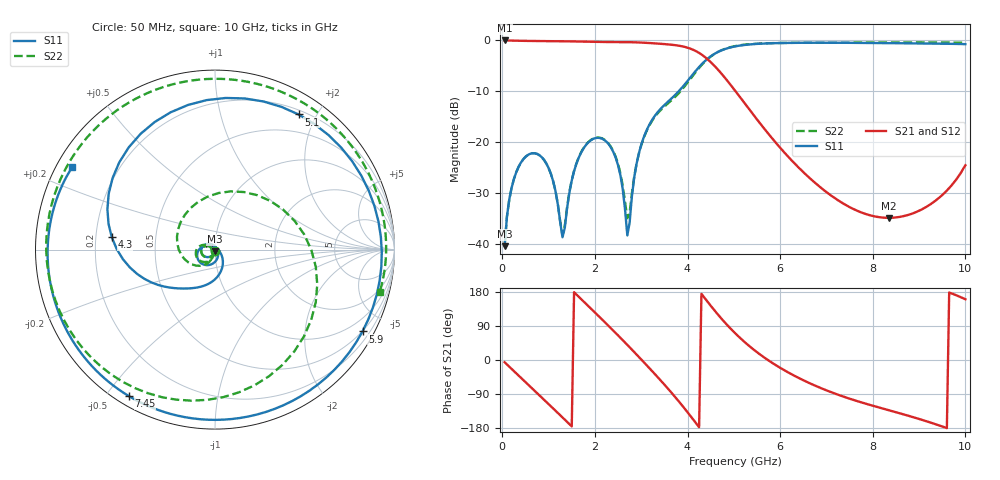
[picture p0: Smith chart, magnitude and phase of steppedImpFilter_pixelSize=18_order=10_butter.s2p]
! freq	dB(S11)	phase(S11)	dB(S12)	phase(S12)
!  dB(S21)	phase(S21)	dB(S22)	phase(S22)
!S-par simulation data
#  GHz  S  DB  R 50
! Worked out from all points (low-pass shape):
!   200 points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, 50 MHz to 10 GHz, reference 50 ohm
!   highest |S21| = -0.01 dB at 50 MHz (marker M1); lowest = -34.9 dB at 8.35 GHz (marker M2)
!   |S21| within 3 dB of the highest: start of sweep to 4.337 GHz
!   lowest |S11| = -40.5 dB at 50 MHz (marker M3), VSWR 1.02, Z = 49.9 - j0.939 ohm
!   |S11| at or under -10 dB: start of sweep to 3.812 GHz
!   |S22| runs from -40.5 to -0.4 dB; largest |S21 - S12| = 0
!   S11 on the Smith chart (normalised r, x): 50 MHz: 1.00, -0.02; 4.3 GHz: 0.27, +0.06; 5.1 GHz: 0.25, +1.77; 5.9 GHz: 0.49, -3.81; 7.45 GHz: 0.04, -0.57; 10 GHz: 0.05, +0.27
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0.05  -40.51 -93.7  -0.01 -5.9  -0.01 -5.9  -40.53 -93.7
0.3  -25.99 -126.1  -0.06 -35.1  -0.06 -35.1  -25.99 -124.7
0.85  -22.98 166.0  -0.13 -98.8  -0.13 -98.8  -22.99 174.3
1.1  -27.78 129.2  -0.15 -128.0  -0.15 -128.0  -27.79 153.3
1.3  -38.77 38.7  -0.16 -151.5  -0.16 -151.5  -38.32 -162.6
1.75  -21.32 -105.0  -0.25 155.2  -0.25 155.2  -21.27 -127.0
2.4  -22.02 172.1  -0.33 77.3  -0.33 77.3  -21.88 163.0
2.7  -38.41 73.3  -0.34 39.9  -0.34 39.9  -35.03 -172.4
2.95  -22.22 -55.4  -0.40 8.0  -0.40 8.0  -22.27 -115.2
3.4  -13.67 -105.8  -0.65 -51.2  -0.65 -51.2  -13.90 -180.0
3.8  -10.12 -136.5  -1.02 -107.4  -1.02 -107.4  -10.51 97.7
4.05  -7.42 -157.5  -1.59 -145.6  -1.59 -145.6  -7.72 41.2
4.3  -4.75 173.2  -2.77 174.6  -2.77 174.6  -4.89 -9.6
4.7  -2.09 115.3  -6.19 113.7  -6.19 113.7  -2.07 -73.9
5.05  -1.14 65.0  -10.17 68.1  -10.17 68.1  -1.08 -115.1
5.1  -1.06 58.3  -10.77 62.2  -10.77 62.2  -1.00 -120.1
5.5  -0.69 9.8  -15.56 20.6  -15.56 20.6  -0.65 -154.7
5.9  -0.54 -29.0  -20.09 -13.2  -20.09 -13.2  -0.53 177.2
6.7  -0.46 -84.3  -27.62 -64.7  -27.62 -64.7  -0.46 130.7
7.45  -0.48 -120.5  -32.59 -100.1  -32.59 -100.1  -0.43 92.8
8.35  -0.54 -154.6  -34.95 -132.6  -34.95 -132.6  -0.40 51.8
10  -0.74 150.0  -24.60 160.3  -24.60 160.3  -0.47 -14.3
